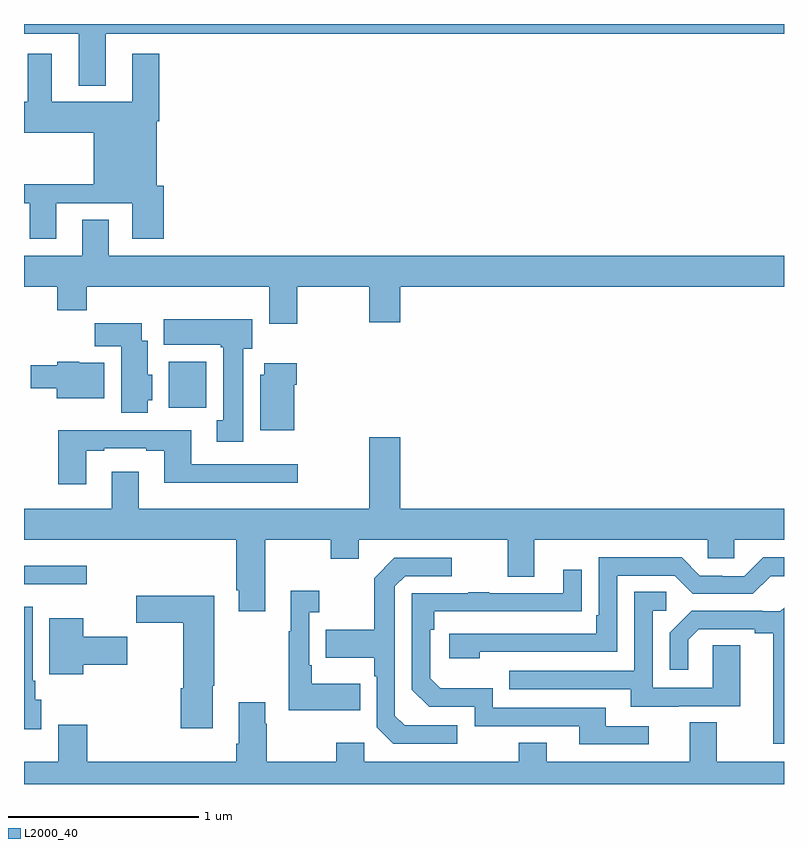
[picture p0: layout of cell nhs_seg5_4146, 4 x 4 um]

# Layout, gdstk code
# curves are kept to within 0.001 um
import gdstk
lib = gdstk.Library(unit=1e-6, precision=1e-09)
def R(c, l, rs):  # rectangles x0, y0, x1, y1
    for r in rs: c.add(gdstk.rectangle(r[:2], r[2:], *l))
def P(c, l, *ps):  # polygons
    for p in ps: c.add(gdstk.Polygon(p, *l))
L2000_40 = (2000, 40)

nhs_seg5_4146 = lib.new_cell('nhs_seg5_4146')
R(nhs_seg5_4146, L2000_40, [(355,865.851,355.33,865.948), (355.763,866.78,355.96,867.022)])
P(nhs_seg5_4146, L2000_40, [(355.429,868.748),(359,868.748),(359,868.799),(355,868.799),(355,868.748),(355.289,868.748),(355.289,868.475),(355.429,868.475)],
  [(355.171,867.855),(355.571,867.855),(355.571,867.669),(355.736,867.669),(355.736,867.948),(355.699,867.948),(355.699,868.286),(355.712,868.286),(355.712,868.642),(355.571,868.642),(355.571,868.39),(355.147,868.39),(355.147,868.642),(355.019,868.642),(355.019,868.39),(355,868.39),(355,868.226),(355.367,868.226),(355.367,867.956),(355,867.956),(355,867.855),(355.031,867.855),(355.031,867.669),(355.171,867.669)],
  [(356.439,867.416),(356.816,867.416),(356.816,867.228),(356.98,867.228),(356.98,867.416),(359,867.416),(359,867.58),(355.447,867.58),(355.447,867.77),(355.307,867.77),(355.307,867.58),(355,867.58),(355,867.416),(355.175,867.416),(355.175,867.292),(355.331,867.292),(355.331,867.416),(356.291,867.416),(356.291,867.222),(356.439,867.222)],
  [(356.155,867.09),(356.2,867.09),(356.2,867.244),(355.736,867.244),(355.736,867.11),(356.035,867.11),(356.035,867.097),(356.048,867.097),(356.048,866.714),(356.015,866.714),(356.015,866.601),(356.155,866.601)],
  [(355.651,866.82),(355.675,866.82),(355.675,866.952),(355.651,866.952),(355.651,867.133),(355.621,867.133),(355.621,867.223),(355.372,867.223),(355.372,867.104),(355.511,867.104),(355.511,866.753),(355.651,866.753)],
  [(355.423,867.016),(355.29,867.016),(355.29,867.022),(355.176,867.022),(355.176,867.004),(355.035,867.004),(355.035,866.882),(355.172,866.882),(355.172,866.828),(355.423,866.828)],
  [(356.422,866.9),(356.435,866.9),(356.435,867.013),(356.264,867.013),(356.264,866.952),(356.243,866.952),(356.243,866.66),(356.422,866.66)],
  [(355.327,866.553),(355.423,866.553),(355.423,866.565),(355.643,866.565),(355.643,866.553),(355.739,866.553),(355.739,866.384),(356.44,866.384),(356.44,866.481),(355.879,866.481),(355.879,866.661),(355.419,866.661),(355.419,866.662),(355.18,866.662),(355.18,866.376),(355.327,866.376)],
  [(356.269,866.084),(356.614,866.084),(356.614,865.985),(356.761,865.985),(356.761,866.084),(357.545,866.084),(357.545,865.89),(357.685,865.89),(357.685,866.084),(358.599,866.084),(358.599,865.986),(358.737,865.986),(358.737,866.084),(359,866.084),(359,866.248),(356.98,866.248),(356.98,866.623),(356.816,866.623),(356.816,866.248),(355.603,866.248),(355.603,866.443),(355.463,866.443),(355.463,866.248),(355,866.248),(355,866.084),(356.117,866.084),(356.117,865.819),(356.129,865.819),(356.129,865.707),(356.269,865.707)],
  [(357.398,865.494),(358.122,865.494),(358.122,865.896),(358.425,865.896),(358.521,865.8),(358.836,865.8),(358.929,865.893),(359,865.893),(359,865.993),(358.891,865.993),(358.791,865.893),(358.676,865.893),(358.676,865.896),(358.557,865.896),(358.461,865.992),(358.026,865.992),(358.026,865.687),(358.013,865.687),(358.013,865.59),(357.237,865.59),(357.237,865.46),(357.398,865.46)],
  [(357.28,865.107),(357.003,865.107),(356.952,865.158),(356.952,865.839),(357.006,865.893),(357.25,865.893),(357.25,865.989),(356.949,865.989),(356.844,865.883),(356.844,865.611),(356.587,865.611),(356.587,865.463),(356.844,865.463),(356.844,865.367),(356.856,865.367),(356.856,865.098),(356.943,865.011),(357.28,865.011)],
  [(358.288,865.104),(358.063,865.104),(358.063,865.2),(357.468,865.2),(357.468,865.303),(357.191,865.303),(357.138,865.356),(357.138,865.61),(357.158,865.61),(357.158,865.707),(357.935,865.708),(357.935,865.927),(357.839,865.927),(357.839,865.803),(357.449,865.803),(357.449,865.808),(357.337,865.808),(357.337,865.803),(357.042,865.803),(357.042,865.296),(357.132,865.206),(357.372,865.206),(357.372,865.104),(357.923,865.104),(357.923,865.008),(358.288,865.008)],
  [(356.771,865.327),(356.515,865.327),(356.515,865.423),(356.502,865.423),(356.502,865.703),(356.554,865.703),(356.554,865.816),(356.405,865.816),(356.405,865.603),(356.394,865.603),(356.394,865.187),(356.771,865.187)],
  [(358.447,865.209),(358.771,865.209),(358.771,865.529),(358.626,865.529),(358.626,865.305),(358.308,865.305),(358.308,865.71),(358.381,865.71),(358.381,865.811),(358.212,865.811),(358.212,865.395),(357.553,865.395),(357.553,865.299),(358.193,865.299),(358.193,865.205),(358.447,865.205)],
  [(355.993,865.315),(356.001,865.315),(356.001,865.791),(355.59,865.791),(355.59,865.649),(355.838,865.649),(355.838,865.304),(355.826,865.304),(355.826,865.092),(355.993,865.092)],
  [(355.09,865.242),(355.06,865.242),(355.06,865.342),(355.045,865.342),(355.045,865.732),(355,865.732),(355,865.088),(355.09,865.088)],
  [(359,865.727),(358.98,865.707),(358.886,865.707),(358.886,865.71),(358.514,865.71),(358.398,865.594),(358.398,865.401),(358.495,865.401),(358.495,865.557),(358.552,865.614),(358.847,865.614),(358.847,865.592),(358.943,865.592),(358.943,865.011),(359,865.011)],
  [(355.312,865.427),(355.543,865.427),(355.543,865.574),(355.312,865.574),(355.312,865.672),(355.133,865.672),(355.133,865.376),(355.312,865.376)],
  [(358.505,865.124),(358.505,864.916),(357.751,864.916),(357.751,865.015),(357.604,865.015),(357.604,864.916),(356.79,864.916),(356.79,865.015),(356.644,865.015),(356.644,864.916),(356.277,864.916),(356.277,865.115),(356.269,865.115),(356.269,865.228),(356.129,865.228),(356.129,865.012),(356.117,865.012),(356.117,864.916),(355.334,864.916),(355.334,865.111),(355.181,865.111),(355.181,864.916),(355,864.916),(355,864.799),(359,864.799),(359,864.916),(358.645,864.916),(358.645,865.124)])

lib.write_gds('nhs_seg5_4146.gds')
